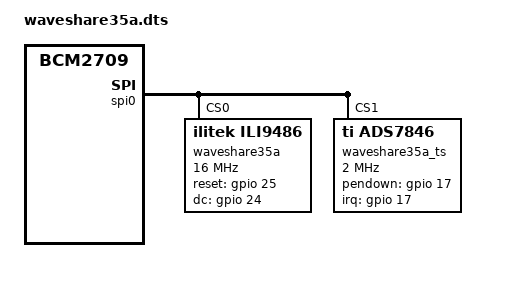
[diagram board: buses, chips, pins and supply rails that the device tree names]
/*
 * Device Tree overlay for waveshare 3.5inch TFT LCD
 *
 */

/dts-v1/;
/plugin/;

/ {
	compatible = "brcm,bcm2835", "brcm,bcm2708", "brcm,bcm2709";

	fragment@0 {
		target = <&spi0>;
		__overlay__ {
			status = "okay";

			spidev@0{
				status = "disabled";
			};

			spidev@1{
				status = "disabled";
			};
		};
	};

	fragment@1 {
		target = <&gpio>;
		__overlay__ {
			waveshare35a_pins: waveshare35a_pins {
				brcm,pins = <17 25 24>;
				brcm,function = <0 0 0>; /* in in in */
			};
		};
	};

	fragment@2 {
		target = <&spi0>;
		__overlay__ {
			/* needed to avoid dtc warning */
			#address-cells = <1>;
			#size-cells = <0>;

			waveshare35a: waveshare35a@0{
				compatible = "ilitek,ili9486";
				reg = <0>;
				pinctrl-names = "default";
				pinctrl-0 = <&waveshare35a_pins>;

				spi-max-frequency = <16000000>;
				txbuflen = <32768>;
				rotate = <90>;
				bgr = <0>;
				fps = <30>;
				buswidth = <8>;
				regwidth = <16>;
				reset-gpios = <&gpio 25 0>;
				dc-gpios = <&gpio 24 0>;
				debug = <0>;

				init = <0x10000b0 0x00
				        0x1000011
					0x20000ff
					0x100003a 0x55
					0x1000036 0x28
					0x10000c2 0x44
					0x10000c5 0x00 0x00 0x00 0x00
					0x10000e0 0x0f 0x1f 0x1c 0x0c 0x0f 0x08 0x48 0x98 0x37 0x0a 0x13 0x04 0x11 0x0d 0x00
					0x10000e1 0x0f 0x32 0x2e 0x0b 0x0d 0x05 0x47 0x75 0x37 0x06 0x10 0x03 0x24 0x20 0x00
					0x10000e2 0x0f 0x32 0x2e 0x0b 0x0d 0x05 0x47 0x75 0x37 0x06 0x10 0x03 0x24 0x20 0x00
					/* piscreen -> waveshare35a */
					0x1000036 0x28
					0x1000011
					0x1000029>;
			};

			waveshare35a_ts: waveshare35a-ts@1 {
				compatible = "ti,ads7846";
				reg = <1>;

				spi-max-frequency = <2000000>;
				interrupts = <17 2>; /* high-to-low edge triggered */
				interrupt-parent = <&gpio>;
				pendown-gpio = <&gpio 17 0>;
				ti,x-plate-ohms = /bits/ 16 <60>;
				ti,pressure-max = /bits/ 16 <255>;
			};
		};
	};
	__overrides__ {
		speed =		<&waveshare35a>,"spi-max-frequency:0";
		txbuflen =	<&waveshare35a>,"txbuflen:0";
		rotate =	<&waveshare35a>,"rotate:0";
		fps =		<&waveshare35a>,"fps:0";
		bgr =		<&waveshare35a>,"bgr:0";
		debug =		<&waveshare35a>,"debug:0";
		swapxy =	<&waveshare35a_ts>,"ti,swap-xy?";
	};
};
